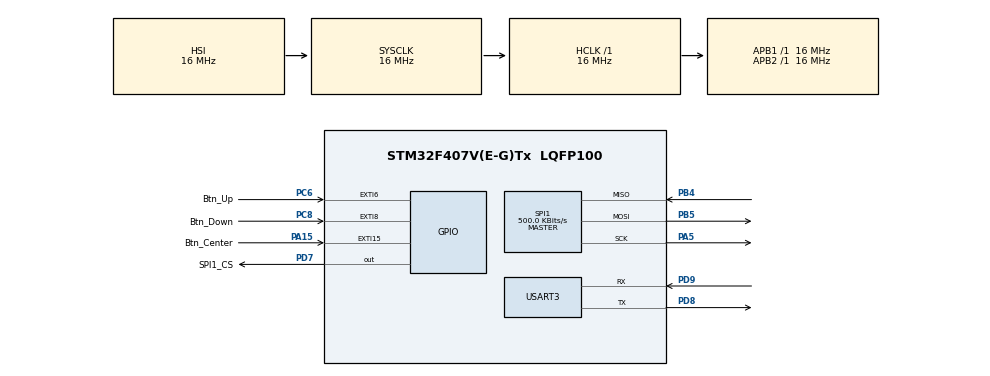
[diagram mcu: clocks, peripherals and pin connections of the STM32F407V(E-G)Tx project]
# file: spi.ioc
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Mcu.Family=STM32F4
Mcu.Name=STM32F407V(E-G)Tx
Mcu.Package=LQFP100
NVIC.EXTI15_10_IRQn=true\:0\:0\:false\:false\:true\:true\:true\:true
NVIC.EXTI9_5_IRQn=true\:0\:0\:false\:false\:true\:true\:true\:true
NVIC.PriorityGroup=NVIC_PRIORITYGROUP_4
PA15.GPIO_Label=Btn_Center
PA15.Signal=GPXTI15
PA5.Mode=Full_Duplex_Master
PA5.Signal=SPI1_SCK
PB4.Mode=Full_Duplex_Master
PB4.Signal=SPI1_MISO
PB5.Mode=Full_Duplex_Master
PB5.Signal=SPI1_MOSI
PC6.GPIO_Label=Btn_Up
PC6.Signal=GPXTI6
PC8.GPIO_Label=Btn_Down
PC8.Signal=GPXTI8
PD7.GPIO_Label=SPI1_CS
PD7.Signal=GPIO_Output
PD8.Mode=Asynchronous
PD8.Signal=USART3_TX
PD9.Mode=Asynchronous
PD9.Signal=USART3_RX
PH0-OSC_IN.Mode=HSE-External-Oscillator
PH0-OSC_IN.Signal=RCC_OSC_IN
PH1-OSC_OUT.Mode=HSE-External-Oscillator
PH1-OSC_OUT.Signal=RCC_OSC_OUT
ProjectManager.HeapSize=0x200
ProjectManager.StackSize=0x400
ProjectManager.TargetToolchain=STM32CubeIDE
RCC.AHBFreq_Value=16000000
RCC.APB1Freq_Value=16000000
RCC.APB2Freq_Value=16000000
RCC.CortexFreq_Value=16000000
RCC.HSE_VALUE=25000000
RCC.HSI_VALUE=16000000
RCC.LSE_VALUE=32768
RCC.SYSCLKFreq_VALUE=16000000
RCC.VCOOutputFreq_Value=192000000
SPI1.BaudRatePrescaler=SPI_BAUDRATEPRESCALER_32
SPI1.CalculateBaudRate=500.0 KBits/s
SPI1.Direction=SPI_DIRECTION_2LINES
SPI1.Mode=SPI_MODE_MASTER
SPI1.VirtualType=VM_MASTER
USART3.VirtualMode=VM_ASYNC
board=custom

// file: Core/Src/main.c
/* USER CODE BEGIN Header */
/**
  ******************************************************************************
  * @file           : main.c
  * @brief          : Main program body
  ******************************************************************************
  * @attention
  *
  * Copyright (c) 2023 STMicroelectronics.
  * All rights reserved.
  *
  * This software is licensed under terms that can be found in the LICENSE file
  * in the root directory of this software component.
  * If no LICENSE file comes with this software, it is provided AS-IS.
  *
  ******************************************************************************
  */
/* USER CODE END Header */
#include "main.h"

/* USER CODE BEGIN PTD */
enum {
    FALSE = 0,
    TRUE = 1
};

enum {
    READ_CHIP = 0x03,
    SECTOR_4KB_ERASE = 0x20,
    CHIP_ERASE = 0x60,
    BYTE_PROGRAM = 0x02,
    AAI_WORD_PROGRAM = 0xad,
    READ_STATUS_REG = 0x05,
    EN_WR_STATUS_REG = 0x50,
    WRITE_STATUS_REG = 0x01,
    WRITE_ENABLE = 0x06,
    WRIGHT_DISABLE = 0x04,
    READ_ID = 0x90,
    EBSY = 0x70,
    DBSY = 0x80
};

enum {
    START_ADDRESS = 0x00,
    SECTOR_MAX_ADDRESS = 0x1ff,
    SECTOR_DATA_MAX_ADDRESS = 0xfff
};

enum {
    TX_UART_BUF_SIZE = 64,
    RX_UART_BUF_SIZE = 5012,
    UART_TIMEOUT = 10
};

enum {
    DEL_SYMBOL = 0x7f,
    TX_SPI_BUF_SIZE = 8,
    RX_SPI_BUF_SIZE = 4096,
    SPI_TIMEOUT = 100,
    BYTES_IN_SECTOR = 4096,
    EMPTY_BYTE = 0xff,
    ENABLE_WRITE_TO_CHIP = 0,
    NUMBER_OF_END_SYMBOLS = 3
};

enum {
    NONE = 0,
    ERASE_WHOLE_CHIP = 1,
    ERASE_SECTOR = 2,
    ERASE_TIME_CAPSULE
};

enum {
    READ,
    WRITE,
    ERASE
};

uint8_t txSPIbuffer[TX_SPI_BUF_SIZE] = {0};
uint8_t rxSPIbuffer[RX_SPI_BUF_SIZE] = {0};

const char *time_capsule[] = {

		"From: Yevhen Holovynskyi, golovinskiyea@gmail.com\r",
		"Mentor: Daniil Ruban, daniil.ruban@globallogic.com\r",
		"Date: 18.03.2023\r",
		"TIME CAPSULE\r",
		"Serge Goodman\r",
		"The strength of the human spirit lies in the ability to look\r",
		"with interest and optimism into an unpredictable future. \r",
		"This is the belief that there is a way out of any predicament,\r",
		" and all disagreements can be resolved. If you lowered your\r",
		"hands - do not despair, there will definitely be something wonderful under your feet,\r",
		" do not be afraid to raise it. If it will be difficult and scary,\r",
		" it is important to feel how it becomes easy and clear for you what to do now.\r",
};

uint16_t sizeOfTimeCapsule = (sizeof(time_capsule) / sizeof(time_capsule[0]));

/* USER CODE END PTD */

/* USER CODE BEGIN PM */
void HAL_GPIO_EXTI_Callback(uint16_t GPIO_Pin);
static void flashChipErase(void);
static void flashSpiRegSet(uint8_t *tx, uint16_t size);
static void flashReadTimeCapsule(void);
static void flashReadData(uint16_t sector_addr_from, uint16_t sector_addr_to, int16_t byte_addr, uint16_t rx_size);
static void flashSpiRxTx(uint8_t *tx, uint8_t *rx, uint16_t tx_size, uint16_t rx_size);
static void flashWriteTimeCapsule(void);
static int flashWriteDataToSector(uint16_t sector_addr, int16_t byte_addr, const char* data);
static void flashWriteByte(uint16_t sector_addr, int16_t byte_addr, uint8_t byte);
static void flashMemInit(void);
/* USER CODE END PM */

SPI_HandleTypeDef hspi1;
UART_HandleTypeDef huart3;

void SystemClock_Config(void);
static void MX_GPIO_Init(void);
static void MX_SPI1_Init(void);
static void MX_USART3_UART_Init(void);

/* USER CODE BEGIN PFP */
#ifdef __GNUC__
	#define PUTCHAR_PROTOTYPE int __io_putchar(int ch)
#endif

PUTCHAR_PROTOTYPE
{
HAL_UART_Transmit(&huart3, (uint8_t *)&ch, 1, HAL_MAX_DELAY);
	return ch;
}
/* USER CODE END PFP */

/* USER CODE BEGIN 0 */

void HAL_GPIO_EXTI_Callback(uint16_t GPIO_Pin) {

	switch (GPIO_Pin) {
	case Btn_Up_Pin:
		flashChipErase();
		break;
	case Btn_Down_Pin:
		flashReadTimeCapsule();
		break;

	case Btn_Center_Pin:
		flashWriteTimeCapsule();
		break;
	}
}

static void flashChipErase(void){
	txSPIbuffer[0] = WRITE_ENABLE;
	flashSpiRegSet(txSPIbuffer, 1);

	txSPIbuffer[0] = CHIP_ERASE;
	flashSpiRegSet(txSPIbuffer, 1);
	printf("Erasing whole flash SPI chip\r\n");
}

static void flashSpiRegSet(uint8_t *tx, uint16_t size){
	HAL_GPIO_WritePin(GPIOD, SPI1_CS_Pin, GPIO_PIN_RESET);
	HAL_SPI_Transmit(&hspi1, tx, size, SPI_TIMEOUT);
	HAL_GPIO_WritePin(GPIOD, SPI1_CS_Pin, GPIO_PIN_SET);
}

static void flashReadTimeCapsule(void){
	printf("Reading data from Time Capsule\r\n");
	flashReadData(0, (sizeOfTimeCapsule-1), 0, 100);
	printf("Done!r\n");
}

static void flashReadData(uint16_t sector_addr_from, uint16_t sector_addr_to, int16_t byte_addr, uint16_t rx_size){
	uint16_t sector_addr_curr = sector_addr_from;
	while(sector_addr_curr <= sector_addr_to){
		txSPIbuffer[0] = READ_CHIP;
		txSPIbuffer[1] = (uint8_t)(sector_addr_curr >> 4);
		txSPIbuffer[2] = (uint8_t)((sector_addr_curr << 4) | (byte_addr >> 8));
		txSPIbuffer[3] = (uint8_t)byte_addr;

		flashSpiRxTx(txSPIbuffer, rxSPIbuffer, 4, rx_size);

		printf("Line %d: ", sector_addr_curr);
		sector_addr_curr++;
		printf("%s", (rxSPIbuffer));
	}
}

static void flashSpiRxTx(uint8_t *tx, uint8_t *rx, uint16_t tx_size, uint16_t rx_size){
	HAL_GPIO_WritePin(GPIOD, SPI1_CS_Pin, GPIO_PIN_RESET);
	HAL_SPI_Transmit(&hspi1, tx, tx_size, SPI_TIMEOUT);
	HAL_SPI_Receive(&hspi1, rx, rx_size, SPI_TIMEOUT);
	HAL_GPIO_WritePin(GPIOD, SPI1_CS_Pin, GPIO_PIN_SET);
}

static void flashWriteTimeCapsule(void){
	printf("Writing the Time Capsule data\r\n");
	for(uint16_t i = 0; i < sizeOfTimeCapsule; i++){
		int8_t status;
		status = flashWriteDataToSector(i, START_ADDRESS, time_capsule[i]);
		if (status < 0) {
			return;
		}
	}
	printf("Done!\r\n\r\n");
}

static int flashWriteDataToSector(uint16_t sector_addr, int16_t byte_addr, const char* data){
	uint16_t symbolsCounter = 0;
	const char *endPtr = data + (BYTES_IN_SECTOR - NUMBER_OF_END_SYMBOLS);
	while(data < endPtr && *data != '\r'){
		flashWriteByte(sector_addr, byte_addr, (uint8_t) *data);
		data++;
		byte_addr++;
		symbolsCounter++;
	}
	flashWriteByte(sector_addr, byte_addr, '\r');
	byte_addr++;
	flashWriteByte(sector_addr, byte_addr, '\n');
	byte_addr++;
	flashWriteByte(sector_addr, byte_addr, '\0');
	printf("Line %d has been written with %d printable symbols\r\n", sector_addr, symbolsCounter);

	return 0;
}

static void flashWriteByte(uint16_t sector_addr, int16_t byte_addr, uint8_t byte){
	txSPIbuffer[0] = WRITE_ENABLE;
	flashSpiRegSet(txSPIbuffer, 1);

	txSPIbuffer[0] = BYTE_PROGRAM;
	txSPIbuffer[1] = (uint8_t)(sector_addr >> 4);
	txSPIbuffer[2] = (uint8_t)((sector_addr << 4) | (byte_addr >> 8));
	txSPIbuffer[3] = (uint8_t)byte_addr;
	txSPIbuffer[4] = byte;
	flashSpiRegSet(txSPIbuffer, 5);
}

static void flashMemInit(void){
    HAL_GPIO_WritePin(GPIOD, SPI1_CS_Pin, GPIO_PIN_SET);
    txSPIbuffer[0] = EN_WR_STATUS_REG;
    flashSpiRegSet(txSPIbuffer, 1);
    HAL_Delay(100);
}

/* USER CODE END 0 */

int main(void)
{

  /* MCU Configuration--------------------------------------------------------*/

  /* Reset of all peripherals, Initializes the Flash interface and the Systick. */
  HAL_Init();

  /* Configure the system clock */
  SystemClock_Config();

  /* Initialize all configured peripherals */
  MX_GPIO_Init();
  MX_SPI1_Init();
  MX_USART3_UART_Init();

  /* Infinite loop */
  while (1)
  {

  }
}

void SystemClock_Config(void)
{
  RCC_OscInitTypeDef RCC_OscInitStruct = {0};
  RCC_ClkInitTypeDef RCC_ClkInitStruct = {0};

  /** Configure the main internal regulator output voltage
  */
  __HAL_RCC_PWR_CLK_ENABLE();
  __HAL_PWR_VOLTAGESCALING_CONFIG(PWR_REGULATOR_VOLTAGE_SCALE1);

  /** Initializes the RCC Oscillators according to the specified parameters
  * in the RCC_OscInitTypeDef structure.
  */
  RCC_OscInitStruct.OscillatorType = RCC_OSCILLATORTYPE_HSI;
  RCC_OscInitStruct.HSIState = RCC_HSI_ON;
  RCC_OscInitStruct.HSICalibrationValue = RCC_HSICALIBRATION_DEFAULT;
  RCC_OscInitStruct.PLL.PLLState = RCC_PLL_NONE;
  if (HAL_RCC_OscConfig(&RCC_OscInitStruct) != HAL_OK)
  {
    Error_Handler();
  }

  /** Initializes the CPU, AHB and APB buses clocks
  */
  RCC_ClkInitStruct.ClockType = RCC_CLOCKTYPE_HCLK|RCC_CLOCKTYPE_SYSCLK
                              |RCC_CLOCKTYPE_PCLK1|RCC_CLOCKTYPE_PCLK2;
  RCC_ClkInitStruct.SYSCLKSource = RCC_SYSCLKSOURCE_HSI;
  RCC_ClkInitStruct.AHBCLKDivider = RCC_SYSCLK_DIV1;
  RCC_ClkInitStruct.APB1CLKDivider = RCC_HCLK_DIV1;
  RCC_ClkInitStruct.APB2CLKDivider = RCC_HCLK_DIV1;

  if (HAL_RCC_ClockConfig(&RCC_ClkInitStruct, FLASH_LATENCY_0) != HAL_OK)
  {
    Error_Handler();
  }
}

static void MX_SPI1_Init(void)
{

  /* SPI1 parameter configuration*/
  hspi1.Instance = SPI1;
  hspi1.Init.Mode = SPI_MODE_MASTER;
  hspi1.Init.Direction = SPI_DIRECTION_2LINES;
  hspi1.Init.DataSize = SPI_DATASIZE_8BIT;
  hspi1.Init.CLKPolarity = SPI_POLARITY_LOW;
  hspi1.Init.CLKPhase = SPI_PHASE_1EDGE;
  hspi1.Init.NSS = SPI_NSS_SOFT;
  hspi1.Init.BaudRatePrescaler = SPI_BAUDRATEPRESCALER_32;
  hspi1.Init.FirstBit = SPI_FIRSTBIT_MSB;
  hspi1.Init.TIMode = SPI_TIMODE_DISABLE;
  hspi1.Init.CRCCalculation = SPI_CRCCALCULATION_DISABLE;
  hspi1.Init.CRCPolynomial = 10;
  if (HAL_SPI_Init(&hspi1) != HAL_OK)
  {
    Error_Handler();
  }

}

static void MX_USART3_UART_Init(void)
{

  huart3.Instance = USART3;
  huart3.Init.BaudRate = 115200;
  huart3.Init.WordLength = UART_WORDLENGTH_8B;
  huart3.Init.StopBits = UART_STOPBITS_1;
  huart3.Init.Parity = UART_PARITY_NONE;
  huart3.Init.Mode = UART_MODE_TX_RX;
  huart3.Init.HwFlowCtl = UART_HWCONTROL_NONE;
  huart3.Init.OverSampling = UART_OVERSAMPLING_16;
  if (HAL_UART_Init(&huart3) != HAL_OK)
  {
    Error_Handler();
  }

}

static void MX_GPIO_Init(void)
{
  GPIO_InitTypeDef GPIO_InitStruct = {0};

  /* GPIO Ports Clock Enable */
  __HAL_RCC_GPIOH_CLK_ENABLE();
  __HAL_RCC_GPIOA_CLK_ENABLE();
  __HAL_RCC_GPIOD_CLK_ENABLE();
  __HAL_RCC_GPIOC_CLK_ENABLE();
  __HAL_RCC_GPIOB_CLK_ENABLE();

  /*Configure GPIO pin Output Level */
  HAL_GPIO_WritePin(SPI1_CS_GPIO_Port, SPI1_CS_Pin, GPIO_PIN_RESET);

  /*Configure GPIO pins : Btn_Up_Pin Btn_Down_Pin */
  GPIO_InitStruct.Pin = Btn_Up_Pin|Btn_Down_Pin;
  GPIO_InitStruct.Mode = GPIO_MODE_IT_RISING;
  GPIO_InitStruct.Pull = GPIO_NOPULL;
  HAL_GPIO_Init(GPIOC, &GPIO_InitStruct);

  /*Configure GPIO pin : Btn_Center_Pin */
  GPIO_InitStruct.Pin = Btn_Center_Pin;
  GPIO_InitStruct.Mode = GPIO_MODE_IT_RISING;
  GPIO_InitStruct.Pull = GPIO_NOPULL;
  HAL_GPIO_Init(Btn_Center_GPIO_Port, &GPIO_InitStruct);

  /*Configure GPIO pin : SPI1_CS_Pin */
  GPIO_InitStruct.Pin = SPI1_CS_Pin;
  GPIO_InitStruct.Mode = GPIO_MODE_OUTPUT_PP;
  GPIO_InitStruct.Pull = GPIO_NOPULL;
  GPIO_InitStruct.Speed = GPIO_SPEED_FREQ_LOW;
  HAL_GPIO_Init(SPI1_CS_GPIO_Port, &GPIO_InitStruct);

  /* EXTI interrupt init*/
  HAL_NVIC_SetPriority(EXTI9_5_IRQn, 0, 0);
  HAL_NVIC_EnableIRQ(EXTI9_5_IRQn);

  HAL_NVIC_SetPriority(EXTI15_10_IRQn, 0, 0);
  HAL_NVIC_EnableIRQ(EXTI15_10_IRQn);

}

void Error_Handler(void)
{
  __disable_irq();
  while (1)
  {
  }
}
